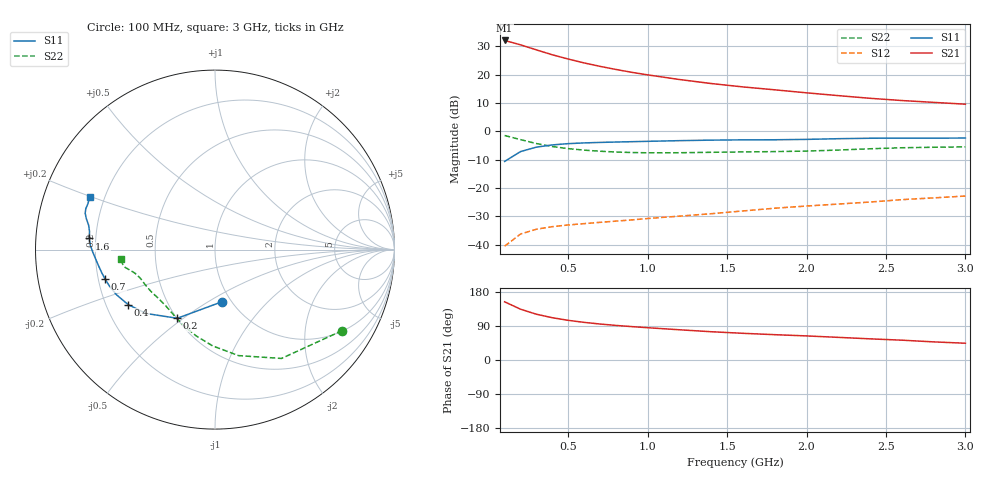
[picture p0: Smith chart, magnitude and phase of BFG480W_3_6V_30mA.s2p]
! Filename: 3_630BFG480.001
! Title: BFG480W
! Bias: Vce=3.6V; Ic=30mA
! Company: Philips Semiconductors NL
! User: Quality&Reliability T&D
! Measure time: 10 Nov 1999 / 11:59:35
#  MHz  S  MA  R 50
! Freq  S11  S21  S12  S22  :
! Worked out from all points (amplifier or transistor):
!   20 points, 100 MHz to 3 GHz, reference 50 ohm
!   highest |S21| = 32.0 dB at 100 MHz (marker M1)
!   |S21| within 3 dB of that: start of sweep to 282.1 MHz
!   unconditionally stable (mu >= 1): 1.169 GHz to end of sweep
!   at 400 MHz: K = 0.50, MSG = 30.3 dB, |S12| = -33.7 dB
!   at 1.2 GHz: K = 1.01, MAG = 23.5 dB, |S12| = -30.0 dB
!   at 3 GHz: K = 1.08, MAG = 14.5 dB, |S12| = -22.9 dB
!   S11 on the Smith chart (normalised r, x): 100 MHz: 0.91, -0.58; 200 MHz: 0.50, -0.47; 400 MHz: 0.29, -0.27; 700 MHz: 0.23, -0.13; 1.6 GHz: 0.17, +0.04; 3 GHz: 0.14, +0.20
100  0.2928 -82.0  39.93 153.6  0.00936 65.5  0.84 -32.5
200  0.4366 -118.8  33.46 134.1  0.01531 54.7  0.7107 -58.6
300  0.5236 -137.2  27.25 120.8  0.01863 48.6  0.6051 -77.5
400  0.5727 -147.7  22.32 111.6  0.02067 46.3  0.5366 -91.4
500  0.6031 -155.2  18.77 104.7  0.02214 45.5  0.4925 -102.2
600  0.6215 -160.7  16.04 99.3  0.0234 46.2  0.4634 -110.5
700  0.6339 -164.9  13.95 95.0  0.02464 47.6  0.4433 -117.2
800  0.6439 -168.4  12.3 91.3  0.0259 49.4  0.4294 -122.9
900  0.6531 -171.5  10.95 88.1  0.02721 51.6  0.4205 -127.8
1000  0.6626 -174.3  9.865 85.2  0.02877 53.4  0.4158 -132.3
1200  0.6811 -178.8  8.171 79.8  0.0317 57.0  0.4168 -139.8
1400  0.6956 177.9  6.938 74.6  0.03497 60.1  0.4242 -145.6
1600  0.7038 174.9  6.048 70.4  0.03915 63.0  0.4304 -149.9
1800  0.7063 171.8  5.375 66.8  0.04376 65.5  0.4367 -154.2
2000  0.7171 169.1  4.756 63.5  0.0478 67.5  0.4458 -159.2
2200  0.7375 166.4  4.246 59.7  0.05179 68.7  0.4649 -163.6
2400  0.7512 164.3  3.807 55.8  0.05626 69.3  0.4899 -166.7
2600  0.755 162.4  3.477 52.3  0.06195 69.8  0.5104 -168.8
2800  0.7526 160.0  3.227 47.8  0.06661 69.1  0.5208 -171.0
3000  0.7581 157.2  2.995 44.3  0.07179 69.1  0.5289 -174.2
